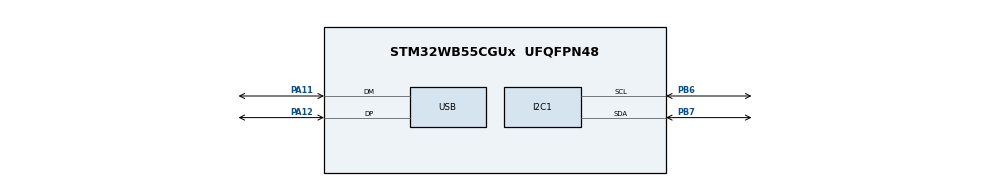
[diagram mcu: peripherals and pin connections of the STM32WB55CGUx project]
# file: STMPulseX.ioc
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I2C1.Timing=0x10B17DB5
Mcu.Family=STM32WB
Mcu.Name=STM32WB55CGUx
Mcu.Package=UFQFPN48
NVIC.HSEM_IRQn=true\:0\:0\:false\:false\:true\:false\:true\:true
NVIC.PriorityGroup=NVIC_PRIORITYGROUP_4
NVIC.USB_LP_IRQn=true\:0\:0\:false\:false\:true\:false\:true\:true
OSC_IN.Mode=HSE-External-Oscillator
OSC_IN.Signal=RCC_OSC_IN
OSC_OUT.Mode=HSE-External-Oscillator
OSC_OUT.Signal=RCC_OSC_OUT
PA11.Mode=Device
PA11.Signal=USB_DM
PA12.Mode=Device
PA12.Signal=USB_DP
PB6.Mode=I2C
PB6.Signal=I2C1_SCL
PB7.Mode=I2C
PB7.Signal=I2C1_SDA
PC14-OSC32_IN.Mode=LSE-External-Oscillator
PC14-OSC32_IN.Signal=RCC_OSC32_IN
PC15-OSC32_OUT.Mode=LSE-External-Oscillator
PC15-OSC32_OUT.Signal=RCC_OSC32_OUT
ProjectManager.HeapSize=0x200
ProjectManager.StackSize=0x400
ProjectManager.TargetToolchain=STM32CubeIDE
RCC.ADCFreq_Value=48000000
RCC.AHB2CLKDivider=RCC_SYSCLK_DIV2
RCC.AHBFreq_Value=64000000
RCC.APB1Freq_Value=64000000
RCC.APB1TimFreq_Value=64000000
RCC.APB2Freq_Value=64000000
RCC.APB2TimFreq_Value=64000000
RCC.APB3Freq_Value=16000000
RCC.Cortex2_Div=SYSTICK_CLKSOURCE_HCLK_DIV8
RCC.CortexFreq_Value=64000000
RCC.HCLKFreq_Value=64000000
RCC.HSE_VALUE=32000000
RCC.HSI48_VALUE=48000000
RCC.HSI_VALUE=16000000
RCC.PLLN=32
RCC.PLLSAI1N=24
RCC.SYSCLKFreq_VALUE=64000000
RCC.SYSCLKSource=RCC_SYSCLKSOURCE_PLLCLK
RCC.USBFreq_Value=48000000
RCC.VCOOutputFreq_Value=128000000
RF1.Mode=RF1_Activate
RF1.Signal=RF_RF1
STM32_WPAN.AD_TYPE_COMPLETE_LOCAL_NAME=STMPulseX
STM32_WPAN.AD_TYPE_COMPLETE_LOCAL_NAME_LENGTH=10
STM32_WPAN.CFG_GAP_DEVICE_NAME=STMPulseX
STM32_WPAN.CFG_GAP_DEVICE_NAME_LENGTH=9
STM32_WPAN.CUSTOM_P2P_SERVER=Disabled
STM32_WPAN.CUSTOM_TEMPLATE=Enabled
STM32_WPAN.INCLUDE_AD_TYPE_COMPLETE_LOCAL_NAME=1
STM32_WPAN.NUMBER_OF_SERVICES=1
STM32_WPAN.SERVICE1_CHAR1_LONG_NAME=Live_Telemetry
STM32_WPAN.SERVICE1_CHAR1_PROP_NOTIFY=CHAR_PROP_NOTIFY
STM32_WPAN.SERVICE1_CHAR1_PROP_READ=CHAR_PROP_READ
STM32_WPAN.SERVICE1_CHAR1_SHORT_NAME=TEL
STM32_WPAN.SERVICE1_CHAR1_UUID=00 02
STM32_WPAN.SERVICE1_CHAR1_VALUE_LENGTH=12
STM32_WPAN.SERVICE1_LONG_NAME=STMPulse_Telemetry
STM32_WPAN.SERVICE1_SHORT_NAME=STMP_TEL
STM32_WPAN.SERVICE1_UUID=00 01
USB_DEVICE.CLASS_NAME_FS=CDC
USB_DEVICE.VirtualMode=Cdc
USB_DEVICE.VirtualModeFS=Cdc_FS
VP_HSEM_VS_HSEM.Mode=HSEM_Activate
VP_IPCC_VS_IPCC.Mode=IPCC_Activate
VP_MEMORYMAP_VS_MEMORYMAP.Mode=CurAppReg
VP_RTC_VS_RTC_Activate.Mode=RTC_Enabled
VP_SEQUENCER_VS_SEQUENCER.Mode=SEQUENCER_Enabled
VP_STM32_WPAN_VS_BLE_HOST.Mode=STM32_WPAN_Enabled
VP_TINY_LPM_VS_TINY_LPM.Mode=TINY_LPM_Enabled
VP_USB_DEVICE_VS_USB_DEVICE_CDC_FS.Mode=CDC_FS
board=custom

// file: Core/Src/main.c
/* USER CODE BEGIN Header */
/**
  ******************************************************************************
  * @file           : main.c
  * @brief          : Main program body
  ******************************************************************************
  * @attention
  *
  * Copyright (c) 2026 STMicroelectronics.
  * All rights reserved.
  *
  * This software is licensed under terms that can be found in the LICENSE file
  * in the root directory of this software component.
  * If no LICENSE file comes with this software, it is provided AS-IS.
  *
  ******************************************************************************
  */
/* USER CODE END Header */
#include "main.h"
#include "usb_device.h"

/* USER CODE BEGIN Includes */
#include <stdio.h>
#include <stdarg.h>
#include <math.h>
#include "usbd_cdc_if.h"
#include <string.h>
#include "app_common.h"
#include "ble.h"
#include "custom_stm.h"
/* USER CODE END Includes */

I2C_HandleTypeDef hi2c1;

IPCC_HandleTypeDef hipcc;

RTC_HandleTypeDef hrtc;

/* USER CODE BEGIN PV */
volatile uint8_t bme280_id = 0;
volatile HAL_StatusTypeDef bme280_status = HAL_ERROR;
/* USER CODE END PV */

void SystemClock_Config(void);
void PeriphCommonClock_Config(void);
static void MX_GPIO_Init(void);
static void MX_I2C1_Init(void);
static void MX_IPCC_Init(void);
static void MX_RTC_Init(void);
static void MX_RF_Init(void);

/* USER CODE BEGIN 0 */

#define BME280_ADDR       (0x76 << 1)
#define BME280_REG_ID     0xD0
#define BME280_REG_RESET  0xE0
#define BME280_REG_CTRL_HUM 0xF2
#define BME280_REG_STATUS 0xF3
#define BME280_REG_CTRL_MEAS 0xF4
#define BME280_REG_CONFIG 0xF5
#define BME280_REG_PRESS_MSB 0xF7

#define MAX30102_ADDR        (0x57 << 1)
#define MAX30102_REG_FIFO_DATA    0x07
#define MAX30102_REG_FIFO_CONFIG  0x08
#define MAX30102_REG_MODE_CONFIG  0x09
#define MAX30102_REG_SPO2_CONFIG  0x0A
#define MAX30102_REG_LED1_PA      0x0C
#define MAX30102_REG_LED2_PA      0x0D
#define MAX30102_REG_PART_ID      0xFF

static void usb_log(const char *fmt, ...);
static float bme280_temperature(uint32_t adc_T);
static float bme280_pressure(uint32_t adc_P);
static float bme280_humidity(uint32_t adc_H);
static uint8_t bme280_read_reg(uint8_t reg, uint8_t *data, uint16_t len);
static uint8_t bme280_write_reg(uint8_t reg, uint8_t value);
static uint8_t bme280_init(void);
static uint8_t bme280_read_raw(uint8_t *data);

static uint8_t max30102_init(void);
static uint8_t max30102_read_fifo(uint32_t *red, uint32_t *ir);
static void max30102_trigger_temp(void);
static float max30102_get_temp(void);

#define TMP117_ADDR          (0x48 << 1)
#define TMP117_REG_TEMP      0x00
#define TMP117_REG_CONFIG    0x01
#define TMP117_REG_ID        0x0F

#define MPU6050_ADDR_PRIMARY   (0x68 << 1)
#define MPU6050_ADDR_SECONDARY (0x69 << 1)
#define MPU6050_REG_SMPLRT     0x19
#define MPU6050_REG_CONFIG     0x1A
#define MPU6050_REG_GYRO_CFG   0x1B
#define MPU6050_REG_ACCEL_CFG  0x1C
#define MPU6050_REG_ACCEL_XOUT 0x3B
#define MPU6050_REG_PWR_MGMT_1 0x6B
#define MPU6050_REG_WHO_AM_I   0x75

static uint8_t mpu6050_addr = (0x68 << 1);
static uint8_t mpu6050_detected = 0;
static uint8_t mpu6050_whoami = 0;

static void i2c_bus_scan(void);
static uint8_t tmp117_init(void);
static float tmp117_read_temp(void);

// static uint8_t mpu6050_init(void);
// static uint8_t mpu6050_read_accel(int16_t *ax, int16_t *ay, int16_t *az);

static uint32_t sample_count = 0;

/* USER CODE END 0 */

int main(void)
{

  /* MCU Configuration--------------------------------------------------------*/

  /* Reset of all peripherals, Initializes the Flash interface and the Systick. */
  HAL_Init();
  /* Config code for STM32_WPAN (HSE Tuning must be done before system clock configuration) */
  MX_APPE_Config();

  /* Configure the system clock */
  SystemClock_Config();

  /* Configure the peripherals common clocks */
  PeriphCommonClock_Config();

  /* IPCC initialisation */
  MX_IPCC_Init();

  /* Initialize all configured peripherals */
  MX_GPIO_Init();
  MX_I2C1_Init();
  MX_USB_Device_Init();
  MX_RTC_Init();
  MX_RF_Init();
  /* USER CODE BEGIN 2 */
  HAL_Delay(1500);  // Allow USB CDC to enumerate

  i2c_bus_scan();
  bme280_init();
  max30102_init();
  tmp117_init();
  // mpu6050_init(); // Disabled
  /* USER CODE END 2 */

  /* while(LL_HSEM_1StepLock(HSEM, CFG_HW_CLK48_CONFIG_SEMID)); */

  /* Init code for STM32_WPAN */
  /* MX_APPE_Init(); */

  /* Infinite loop */
  /* USER CODE BEGIN WHILE */
  usb_log("\r\n========================================\r\n");
  usb_log(" STMPulseX: USB Telemetry Stream Online\r\n");
  usb_log(" (BLE stack bypassed for direct stream)\r\n");
  usb_log("========================================\r\n");
  while (1)
  {
    /* USER CODE END WHILE */
    /* MX_APPE_Process(); */

    /* USER CODE BEGIN 3 */
    sample_count++;

    // 1. Read BME280 every 1s (every 25 samples at 25 Hz)
    static float s_temp = 25.0f;
    static float s_press = 1013.25f;
    static float s_hum = 50.0f;
    static float s_ctemp = 32.0f;
    static float s_t117 = 25.0f;

    uint32_t phase = sample_count % 25;
    if (phase == 1) {
        uint8_t bme_data[8];
        if (bme280_read_raw(bme_data)) {
            uint32_t adc_P = ((uint32_t)bme_data[0] << 12) | ((uint32_t)bme_data[1] << 4) | (bme_data[2] >> 4);
            uint32_t adc_T = ((uint32_t)bme_data[3] << 12) | ((uint32_t)bme_data[4] << 4) | (bme_data[5] >> 4);
            uint32_t adc_H = ((uint32_t)bme_data[6] << 8)  | bme_data[7];

            s_temp = bme280_temperature(adc_T);
            s_press = bme280_pressure(adc_P);
            s_hum = bme280_humidity(adc_H);
        }
    } else if (phase == 2) {
        // Trigger non-blocking MAX30102 on-die temperature measurement
        max30102_trigger_temp();
    } else if (phase == 3) {
        // Read conversion (took ~29ms, 40ms has elapsed)
        s_ctemp = max30102_get_temp();
    } else if (phase == 4) {
        float t = tmp117_read_temp();
        if (t > -100.0f) {
            s_t117 = t;
        }
    }

    // 2. Read MAX30102 sample
    uint32_t red_val = 0, ir_val = 0;
    max30102_read_fifo(&red_val, &ir_val);

    if (sample_count % 125 == 0) {
        usb_log("[STATUS] SENSORS ONLINE | TMP117: %.2f C | BME280: %.2f C, %.1f %% | MAX30102: OK\r\n",
                s_t117, s_temp, s_hum);
    }

    // MPU6050 disabled (unpopulated)
    int16_t ax_mg = 0, ay_mg = 0, az_mg = 0;
    uint16_t mot_mg = 0;

    uint8_t finger_detected = (ir_val > 15000);

    long t_c100 = (long)(s_temp * 100.0f);
    long h_pct100 = (long)(s_hum * 100.0f);
    long p_hpa100 = (long)(s_press);
    long ct_c100 = (long)(s_ctemp * 100.0f);

    long t_frac = t_c100 % 100;
    if (t_frac < 0) t_frac = -t_frac;

    long ct_frac = ct_c100 % 100;
    if (ct_frac < 0) ct_frac = -ct_frac;

    long t117_c100 = (long)(s_t117 * 100.0f);
    long t117_frac = t117_c100 % 100;
    if (t117_frac < 0) t117_frac = -t117_frac;

    usb_log("[#%lu] ENV: %ld.%02ld C, %ld.%02ld %%, %ld.%02ld hPa | PULSE: Finger=%s (RED=%lu, IR=%lu, CTEMP=%ld.%02ld C) | TMP117: %ld.%02ld C | IMU: Ax=%d, Ay=%d, Az=%d, Mot=%u\r\n",
            sample_count,
            t_c100 / 100, t_frac,
            h_pct100 / 100, h_pct100 % 100,
            p_hpa100 / 100, p_hpa100 % 100,
            finger_detected ? "YES" : "NO ",
            red_val, ir_val,
            ct_c100 / 100, ct_frac,
            t117_c100 / 100, t117_frac,
            (int)ax_mg, (int)ay_mg, (int)az_mg, (unsigned int)mot_mg);

    // 3. Broadcast 12-byte BLE telemetry notification at 1 Hz
    if (phase == 1) {
        uint8_t ble_pkt[12];
        uint16_t hr = finger_detected ? 75 : 0;
        uint8_t spo2 = finger_detected ? 98 : 0;
        int16_t t_skin = (int16_t)(s_ctemp * 100.0f);
        int16_t t_amb = (int16_t)(s_temp * 100.0f);
        uint8_t hum = (uint8_t)(s_hum);
        uint16_t press = (uint16_t)(s_press * 10.0f);
        uint8_t batt = 95;
        uint8_t flags = (finger_detected ? 0x01 : 0x00) | ((bme280_status == HAL_OK) ? 0x04 : 0x00) | 0x02;

        ble_pkt[0] = (uint8_t)(hr & 0xFF);
        ble_pkt[1] = (uint8_t)((hr >> 8) & 0xFF);
        ble_pkt[2] = spo2;
        ble_pkt[3] = (uint8_t)(t_skin & 0xFF);
        ble_pkt[4] = (uint8_t)((t_skin >> 8) & 0xFF);
        ble_pkt[5] = (uint8_t)(t_amb & 0xFF);
        ble_pkt[6] = (uint8_t)((t_amb >> 8) & 0xFF);
        ble_pkt[7] = hum;
        ble_pkt[8] = (uint8_t)(press & 0xFF);
        ble_pkt[9] = (uint8_t)((press >> 8) & 0xFF);
        ble_pkt[10] = batt;
        ble_pkt[11] = flags;

        // Custom_STM_App_Update_Char(CUSTOM_STM_TEL, ble_pkt);
        (void)ble_pkt;
        usb_log("[BLE 1Hz] Sent: HR=%u, SpO2=%u%%, SkinT=%ld.%02ld C, Press=%ld.%01ld hPa\r\n",
                hr, spo2,
                (long)(t_skin / 100), (long)((t_skin < 0 ? -t_skin : t_skin) % 100),
                (long)(press / 10), (long)(press % 10));
    }

    HAL_Delay(40); // 25 Hz high-resolution stream (40ms interval)
  }
  /* USER CODE END 3 */
}

void SystemClock_Config(void)
{
  RCC_OscInitTypeDef RCC_OscInitStruct = {0};
  RCC_ClkInitTypeDef RCC_ClkInitStruct = {0};

  /** Configure LSE Drive Capability
  */
  HAL_PWR_EnableBkUpAccess();
  __HAL_RCC_LSEDRIVE_CONFIG(RCC_LSEDRIVE_MEDIUMHIGH);

  /** Configure the main internal regulator output voltage
  */
  __HAL_PWR_VOLTAGESCALING_CONFIG(PWR_REGULATOR_VOLTAGE_SCALE1);

  /** Initializes the RCC Oscillators according to the specified parameters
  * in the RCC_OscInitTypeDef structure.
  */
  RCC_OscInitStruct.OscillatorType = RCC_OSCILLATORTYPE_HSI|RCC_OSCILLATORTYPE_LSI1
                              |RCC_OSCILLATORTYPE_HSE|RCC_OSCILLATORTYPE_LSE
                              |RCC_OSCILLATORTYPE_MSI;
  RCC_OscInitStruct.HSEState = RCC_HSE_ON;
  RCC_OscInitStruct.LSEState = RCC_LSE_ON;
  RCC_OscInitStruct.HSIState = RCC_HSI_ON;
  RCC_OscInitStruct.MSIState = RCC_MSI_ON;
  RCC_OscInitStruct.HSICalibrationValue = RCC_HSICALIBRATION_DEFAULT;
  RCC_OscInitStruct.MSICalibrationValue = RCC_MSICALIBRATION_DEFAULT;
  RCC_OscInitStruct.MSIClockRange = RCC_MSIRANGE_6;
  RCC_OscInitStruct.LSIState = RCC_LSI_ON;
  RCC_OscInitStruct.PLL.PLLState = RCC_PLL_ON;
  RCC_OscInitStruct.PLL.PLLSource = RCC_PLLSOURCE_MSI;
  RCC_OscInitStruct.PLL.PLLM = RCC_PLLM_DIV1;
  RCC_OscInitStruct.PLL.PLLN = 32;
  RCC_OscInitStruct.PLL.PLLP = RCC_PLLP_DIV2;
  RCC_OscInitStruct.PLL.PLLR = RCC_PLLR_DIV2;
  RCC_OscInitStruct.PLL.PLLQ = RCC_PLLQ_DIV2;
  if (HAL_RCC_OscConfig(&RCC_OscInitStruct) != HAL_OK)
  {
    Error_Handler();
  }

  /** Configure the SYSCLKSource, HCLK, PCLK1 and PCLK2 clocks dividers
  */
  RCC_ClkInitStruct.ClockType = RCC_CLOCKTYPE_HCLK4|RCC_CLOCKTYPE_HCLK2
                              |RCC_CLOCKTYPE_HCLK|RCC_CLOCKTYPE_SYSCLK
                              |RCC_CLOCKTYPE_PCLK1|RCC_CLOCKTYPE_PCLK2;
  RCC_ClkInitStruct.SYSCLKSource = RCC_SYSCLKSOURCE_PLLCLK;
  RCC_ClkInitStruct.AHBCLKDivider = RCC_SYSCLK_DIV1;
  RCC_ClkInitStruct.APB1CLKDivider = RCC_HCLK_DIV1;
  RCC_ClkInitStruct.APB2CLKDivider = RCC_HCLK_DIV1;
  RCC_ClkInitStruct.AHBCLK2Divider = RCC_SYSCLK_DIV2;
  RCC_ClkInitStruct.AHBCLK4Divider = RCC_SYSCLK_DIV2;

  if (HAL_RCC_ClockConfig(&RCC_ClkInitStruct, FLASH_LATENCY_3) != HAL_OK)
  {
    Error_Handler();
  }

  /** Enable MSI Auto calibration
  */
  HAL_RCCEx_EnableMSIPLLMode();
}

void PeriphCommonClock_Config(void)
{
  RCC_PeriphCLKInitTypeDef PeriphClkInitStruct = {0};

  /** Initializes the peripherals clock
  */
  PeriphClkInitStruct.PeriphClockSelection = RCC_PERIPHCLK_SMPS|RCC_PERIPHCLK_RFWAKEUP;
  PeriphClkInitStruct.RFWakeUpClockSelection = RCC_RFWKPCLKSOURCE_HSE_DIV1024;
  PeriphClkInitStruct.SmpsClockSelection = RCC_SMPSCLKSOURCE_HSI;
  PeriphClkInitStruct.SmpsDivSelection = RCC_SMPSCLKDIV_RANGE1;

  if (HAL_RCCEx_PeriphCLKConfig(&PeriphClkInitStruct) != HAL_OK)
  {
    Error_Handler();
  }
}

static void MX_I2C1_Init(void)
{

  hi2c1.Instance = I2C1;
  hi2c1.Init.Timing = 0x10B17DB5;
  hi2c1.Init.OwnAddress1 = 0;
  hi2c1.Init.AddressingMode = I2C_ADDRESSINGMODE_7BIT;
  hi2c1.Init.DualAddressMode = I2C_DUALADDRESS_DISABLE;
  hi2c1.Init.OwnAddress2 = 0;
  hi2c1.Init.OwnAddress2Masks = I2C_OA2_NOMASK;
  hi2c1.Init.GeneralCallMode = I2C_GENERALCALL_DISABLE;
  hi2c1.Init.NoStretchMode = I2C_NOSTRETCH_DISABLE;
  if (HAL_I2C_Init(&hi2c1) != HAL_OK)
  {
    Error_Handler();
  }

  /** Configure Analogue filter
  */
  if (HAL_I2CEx_ConfigAnalogFilter(&hi2c1, I2C_ANALOGFILTER_ENABLE) != HAL_OK)
  {
    Error_Handler();
  }

  /** Configure Digital filter
  */
  if (HAL_I2CEx_ConfigDigitalFilter(&hi2c1, 0) != HAL_OK)
  {
    Error_Handler();
  }

}

static void MX_IPCC_Init(void)
{

  hipcc.Instance = IPCC;
  if (HAL_IPCC_Init(&hipcc) != HAL_OK)
  {
    Error_Handler();
  }

}

static void MX_RF_Init(void)
{

}

static void MX_RTC_Init(void)
{

  /** Initialize RTC Only
  */
  hrtc.Instance = RTC;
  hrtc.Init.HourFormat = RTC_HOURFORMAT_24;
  hrtc.Init.AsynchPrediv = CFG_RTC_ASYNCH_PRESCALER;
  hrtc.Init.SynchPrediv = CFG_RTC_SYNCH_PRESCALER;
  hrtc.Init.OutPut = RTC_OUTPUT_DISABLE;
  hrtc.Init.OutPutPolarity = RTC_OUTPUT_POLARITY_HIGH;
  hrtc.Init.OutPutType = RTC_OUTPUT_TYPE_OPENDRAIN;
  hrtc.Init.OutPutRemap = RTC_OUTPUT_REMAP_NONE;
  if (HAL_RTC_Init(&hrtc) != HAL_OK)
  {
    Error_Handler();
  }

}

static void MX_GPIO_Init(void)
{

  /* GPIO Ports Clock Enable */
  __HAL_RCC_GPIOC_CLK_ENABLE();
  __HAL_RCC_GPIOA_CLK_ENABLE();
  __HAL_RCC_GPIOB_CLK_ENABLE();

}

/* USER CODE BEGIN 4 */

typedef struct {
    uint16_t T1;
    int16_t T2, T3;
    uint16_t P1;
    int16_t P2, P3, P4, P5, P6, P7, P8, P9;
    uint8_t H1, H3;
    int16_t H2;
    int16_t H4, H5;
    int8_t H6;
} BME280_Calibration;

static BME280_Calibration cal;
static int32_t t_fine;

static uint8_t bme280_read_reg(uint8_t reg,
                               uint8_t *data, uint16_t len)
{
    return HAL_I2C_Mem_Read(&hi2c1, BME280_ADDR, reg,
                            I2C_MEMADD_SIZE_8BIT,
                            data, len, 100) == HAL_OK;
}

static uint8_t bme280_write_reg(uint8_t reg, uint8_t value)
{
    return HAL_I2C_Mem_Write(&hi2c1, BME280_ADDR, reg,
                             I2C_MEMADD_SIZE_8BIT,
                             &value, 1, 100) == HAL_OK;
}

static uint16_t u16(const uint8_t *p)
{
    return (uint16_t)p[0] | ((uint16_t)p[1] << 8);
}

static int16_t s16(const uint8_t *p)
{
    return (int16_t)u16(p);
}

static uint8_t bme280_init(void)
{
    uint8_t id, a[26], h[7], status;

    HAL_StatusTypeDef result =
        HAL_I2C_Mem_Read(&hi2c1, BME280_ADDR, BME280_REG_ID,
                         I2C_MEMADD_SIZE_8BIT, &id, 1, 100);

    char msg[80];
    snprintf(msg, sizeof(msg),
             "I2C status=%d, chip ID=0x%02X\r\n",
             (int)result, id);
    CDC_Transmit_FS((uint8_t *)msg, strlen(msg));

    if (result != HAL_OK || id != 0x60)
        return 0;

    if (!bme280_write_reg(BME280_REG_RESET, 0xB6))
        return 0;

    HAL_Delay(10);

    for (int i = 0; i < 100; i++) {
        if (!bme280_read_reg(BME280_REG_STATUS, &status, 1))
            return 0;
        if (!(status & 0x01))
            break;
        HAL_Delay(2);
    }

    if (!bme280_read_reg(0x88, a, 26) ||
        !bme280_read_reg(0xE1, h, 7))
        return 0;

    cal.T1 = u16(&a[0]);
    cal.T2 = s16(&a[2]);
    cal.T3 = s16(&a[4]);

    cal.P1 = u16(&a[6]);
    cal.P2 = s16(&a[8]);
    cal.P3 = s16(&a[10]);
    cal.P4 = s16(&a[12]);
    cal.P5 = s16(&a[14]);
    cal.P6 = s16(&a[16]);
    cal.P7 = s16(&a[18]);
    cal.P8 = s16(&a[20]);
    cal.P9 = s16(&a[22]);
    cal.H1 = a[25];

    cal.H2 = s16(&h[0]);
    cal.H3 = h[2];
    cal.H4 = (int16_t)(((int16_t)(int8_t)h[3] << 4)
                       | (h[4] & 0x0F));
    cal.H5 = (int16_t)(((int16_t)(int8_t)h[5] << 4)
                       | (h[4] >> 4));
    cal.H6 = (int8_t)h[6];

    if (cal.P1 == 0)
        return 0;

    /* Standby/filter defaults; humidity x1, temperature x1,
       pressure x1, continuous normal mode. */
    if (!bme280_write_reg(BME280_REG_CONFIG, 0x00) ||
        !bme280_write_reg(BME280_REG_CTRL_HUM, 0x01) ||
        !bme280_write_reg(BME280_REG_CTRL_MEAS, 0x27))
        return 0;

    return 1;
}

static uint8_t bme280_read_raw(uint8_t *data)
{
    return bme280_read_reg(BME280_REG_PRESS_MSB, data, 8);
}

static float bme280_temperature(uint32_t adc_T)
{
    float v1 = ((float)adc_T / 16384.0f -
                (float)cal.T1 / 1024.0f) * cal.T2;

    float x = (float)adc_T / 131072.0f -
              (float)cal.T1 / 8192.0f;

    float v2 = x * x * cal.T3;

    v1 /= 1.0f;
    t_fine = (int32_t)((v1 + v2) / 512.0f);

    return (v1 + v2) / 5120.0f;
}

static float bme280_pressure(uint32_t adc_P)
{
    float v1 = (float)t_fine / 2.0f - 64000.0f;
    float v2 = v1 * v1 * cal.P6 / 32768.0f;
    v2 += v1 * cal.P5 * 2.0f;
    v2 = v2 / 4.0f + cal.P4 * 65536.0f;

    v1 = (cal.P3 * v1 * v1 / 524288.0f +
          cal.P2 * v1) / 524288.0f;
    v1 = (1.0f + v1 / 32768.0f) * cal.P1;

    if (v1 == 0.0f)
        return 0.0f;

    float p = 1048576.0f - (float)adc_P;
    p = (p - v2 / 4096.0f) * 6250.0f / v1;

    v1 = cal.P9 * p * p / 2147483648.0f;
    v2 = p * cal.P8 / 32768.0f;
    p += (v1 + v2 + cal.P7) / 16.0f;

    return p;
}

static float bme280_humidity(uint32_t adc_H)
{
    float h = (float)t_fine - 76800.0f;

    h = (adc_H - (cal.H4 * 64.0f + cal.H5 / 16384.0f * h))
        * (cal.H2 / 65536.0f
        * (1.0f + cal.H6 / 67108864.0f * h
        * (1.0f + cal.H3 / 67108864.0f * h)));

    h *= 1.0f - cal.H1 * h / 524288.0f;

    if (h > 100.0f) h = 100.0f;
    if (h < 0.0f) h = 0.0f;

    return h;
}

static void usb_log(const char *fmt, ...)
{
    static char buf[256];
    va_list args;
    va_start(args, fmt);
    int len = vsnprintf(buf, sizeof(buf), fmt, args);
    va_end(args);

    if (len > 0) {
        if (len > (int)(sizeof(buf) - 1)) len = sizeof(buf) - 1;
        uint32_t t0 = HAL_GetTick();
        while (CDC_Transmit_FS((uint8_t *)buf, (uint16_t)len) == USBD_BUSY) {
            if (HAL_GetTick() - t0 > 15) break;
            HAL_Delay(1);
        }
    }
}

static uint8_t max30102_init(void)
{
    uint8_t val;
    // Reset
    val = 0x40;
    HAL_I2C_Mem_Write(&hi2c1, MAX30102_ADDR, MAX30102_REG_MODE_CONFIG, 1, &val, 1, 100);
    HAL_Delay(50);

    // FIFO config: sample average 4, rollover enabled
    val = 0x40;
    HAL_I2C_Mem_Write(&hi2c1, MAX30102_ADDR, MAX30102_REG_FIFO_CONFIG, 1, &val, 1, 100);

    // SpO2 Mode (Red + IR)
    val = 0x03;
    HAL_I2C_Mem_Write(&hi2c1, MAX30102_ADDR, MAX30102_REG_MODE_CONFIG, 1, &val, 1, 100);

    // SpO2 Config: 4096nA, 100sps, 411us
    val = 0x27;
    HAL_I2C_Mem_Write(&hi2c1, MAX30102_ADDR, MAX30102_REG_SPO2_CONFIG, 1, &val, 1, 100);

    // LED currents (~7.2mA)
    val = 0x24;
    HAL_I2C_Mem_Write(&hi2c1, MAX30102_ADDR, MAX30102_REG_LED1_PA, 1, &val, 1, 100);
    HAL_I2C_Mem_Write(&hi2c1, MAX30102_ADDR, MAX30102_REG_LED2_PA, 1, &val, 1, 100);

    // Clear pointers
    val = 0x00;
    HAL_I2C_Mem_Write(&hi2c1, MAX30102_ADDR, 0x04, 1, &val, 1, 100);
    HAL_I2C_Mem_Write(&hi2c1, MAX30102_ADDR, 0x05, 1, &val, 1, 100);
    HAL_I2C_Mem_Write(&hi2c1, MAX30102_ADDR, 0x06, 1, &val, 1, 100);

    return 1;
}

static uint8_t max30102_read_fifo(uint32_t *red, uint32_t *ir)
{
    uint8_t raw[6];
    if (HAL_I2C_Mem_Read(&hi2c1, MAX30102_ADDR, MAX30102_REG_FIFO_DATA, 1, raw, 6, 50) != HAL_OK) {
        return 0;
    }

    *red = (((uint32_t)raw[0] << 16) | ((uint32_t)raw[1] << 8) | raw[2]) & 0x03FFFF;
    *ir  = (((uint32_t)raw[3] << 16) | ((uint32_t)raw[4] << 8) | raw[5]) & 0x03FFFF;
    return 1;
}

static void max30102_trigger_temp(void)
{
    uint8_t val = 0x01;
    HAL_I2C_Mem_Write(&hi2c1, MAX30102_ADDR, 0x21, 1, &val, 1, 50);
}

static float max30102_get_temp(void)
{
    int8_t temp_int = 0;
    uint8_t temp_frac = 0;
    HAL_I2C_Mem_Read(&hi2c1, MAX30102_ADDR, 0x1F, 1, (uint8_t*)&temp_int, 1, 50);
    HAL_I2C_Mem_Read(&hi2c1, MAX30102_ADDR, 0x20, 1, &temp_frac, 1, 50);
    return (float)temp_int + ((float)(temp_frac & 0x0F) * 0.0625f);
}

static void i2c_bus_scan(void)
{
    usb_log("\r\n--- I2C Bus Scan (hi2c1: PB6 SCL, PB7 SDA) ---\r\n");
    uint8_t found = 0;
    for (uint16_t addr = 1; addr < 128; addr++) {
        if (HAL_I2C_IsDeviceReady(&hi2c1, (uint16_t)(addr << 1), 2, 10) == HAL_OK) {
            const char *name = "Unknown";
            if (addr == 0x48) name = "TMP117 (0x48)";
            else if (addr == 0x49) name = "TMP117 (0x49)";
            else if (addr == 0x57) name = "MAX30102 (0x57)";
            else if (addr == 0x68) name = "MPU6050 (0x68)";
            else if (addr == 0x69) name = "MPU6050 (0x69)";
            else if (addr == 0x76) name = "BME280 (0x76)";
            else if (addr == 0x77) name = "BME280 (0x77)";
            usb_log("  -> [0x%02X] ACK (%s)\r\n", addr, name);
            found++;
        }
    }
    if (found == 0) {
        usb_log("  -> No I2C devices found! Check wiring and 3.3V/GND.\r\n");
    }
    usb_log("----------------------------------------------\r\n\r\n");
}

static uint8_t tmp117_init(void)
{
    return (HAL_I2C_IsDeviceReady(&hi2c1, TMP117_ADDR, 2, 20) == HAL_OK) ? 1 : 0;
}

static float tmp117_read_temp(void)
{
    uint8_t buf[2];
    if (HAL_I2C_Mem_Read(&hi2c1, TMP117_ADDR, TMP117_REG_TEMP, 1, buf, 2, 20) != HAL_OK) {
        return -999.0f;
    }
    int16_t raw = (int16_t)(((uint16_t)buf[0] << 8) | buf[1]);
    return (float)raw * 0.0078125f;
}

static uint8_t __attribute__((unused)) mpu6050_init(void)
{
    uint8_t target_addr = 0;
    // Check 0x68 first (AD0 -> GND)
    if (HAL_I2C_IsDeviceReady(&hi2c1, MPU6050_ADDR_PRIMARY, 2, 15) == HAL_OK) {
        target_addr = MPU6050_ADDR_PRIMARY;
    }
    // Check 0x69 second (AD0 -> 3.3V or floating)
    else if (HAL_I2C_IsDeviceReady(&hi2c1, MPU6050_ADDR_SECONDARY, 2, 15) == HAL_OK) {
        target_addr = MPU6050_ADDR_SECONDARY;
    }

    if (target_addr == 0) {
        mpu6050_detected = 0;
        return 0;
    }

    mpu6050_addr = target_addr;

    // Wake up MPU6050: write 0x00 to PWR_MGMT_1 (clear SLEEP bit, 8MHz internal osc)
    uint8_t pwr_wake = 0x00;
    HAL_I2C_Mem_Write(&hi2c1, mpu6050_addr, MPU6050_REG_PWR_MGMT_1, 1, &pwr_wake, 1, 25);
    HAL_Delay(10);

    // Read WHO_AM_I register (0x75)
    uint8_t who = 0;
    if (HAL_I2C_Mem_Read(&hi2c1, mpu6050_addr, 0x75, 1, &who, 1, 25) == HAL_OK) {
        mpu6050_whoami = who;
    }

    // Switch to PLL with X gyro clock for best stability
    uint8_t pwr_pll = 0x01;
    HAL_I2C_Mem_Write(&hi2c1, mpu6050_addr, MPU6050_REG_PWR_MGMT_1, 1, &pwr_pll, 1, 25);
    HAL_Delay(5);

    // DLPF = 3 (44 Hz low-pass filter for clean motion signals)
    uint8_t dlpf = 0x03;
    HAL_I2C_Mem_Write(&hi2c1, mpu6050_addr, MPU6050_REG_CONFIG, 1, &dlpf, 1, 25);

    // Accel range = +/- 2g (16384 LSB/g)
    uint8_t a_cfg = 0x00;
    HAL_I2C_Mem_Write(&hi2c1, mpu6050_addr, MPU6050_REG_ACCEL_CFG, 1, &a_cfg, 1, 25);

    // Gyro range = +/- 250 deg/s
    uint8_t g_cfg = 0x00;
    HAL_I2C_Mem_Write(&hi2c1, mpu6050_addr, MPU6050_REG_GYRO_CFG, 1, &g_cfg, 1, 25);

    mpu6050_detected = 1;
    return 1;
}

static uint8_t __attribute__((unused)) mpu6050_read_accel(int16_t *ax, int16_t *ay, int16_t *az)
{
    if (!mpu6050_detected) {
        *ax = 0; *ay = 0; *az = 1000;
        return 0;
    }
    uint8_t raw[6];
    if (HAL_I2C_Mem_Read(&hi2c1, mpu6050_addr, MPU6050_REG_ACCEL_XOUT, 1, raw, 6, 20) != HAL_OK) {
        *ax = 0; *ay = 0; *az = 1000;
        return 0;
    }
    *ax = (int16_t)(((uint16_t)raw[0] << 8) | raw[1]);
    *ay = (int16_t)(((uint16_t)raw[2] << 8) | raw[3]);
    *az = (int16_t)(((uint16_t)raw[4] << 8) | raw[5]);
    return 1;
}

/* USER CODE END 4 */

void Error_Handler(void)
{
  __disable_irq();
  while (1)
  {
  }
}
